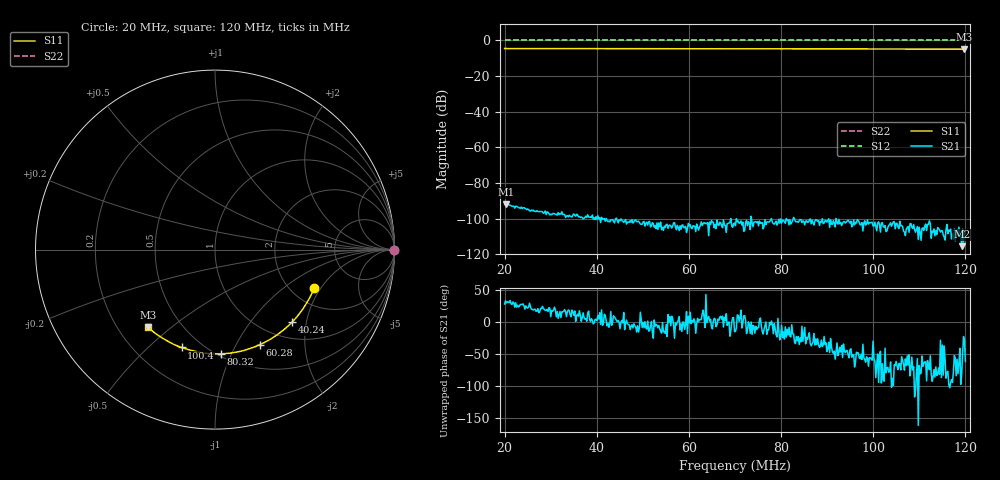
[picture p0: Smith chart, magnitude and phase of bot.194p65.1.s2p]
! Anritsu VNA Master:  Model: MS2036C/10/77
! SN:  1601066
! /bd0/18may08.cable.cal/bot..194p65.1.s2p
! Existing Calibration Information:
! TYPE:  Current Settings,  Active Cal Settings
! TIME:  05/08/2018 03:38:39 PM,  05/08/2018 03:25:16 PM
! INTERNAL TEMP:  51.5 C,  53.3 C
! # POINTS:  500,  500
! START FREQ:  20.000 MHz,  20.000 MHz
! STOP FREQ:  120.000 MHz,  120.000 MHz
! SOURCE POWER:  High,  High
! IFBW:  50 Hz,  50 Hz
! AVG FACTOR:  1 ,  1
! REF PLANE 1:  0 mm,  0 mm
! REF PLANE 2:  0 mm,  0 mm
! CAL TYPE:  Full S11,  Full S11
! CAL METHOD:  SOLT,  SOLT
! CAL LINE TYPE:  Coax,  Coax
! DUT PORT 1:  K-Conn(F),  K-Conn(F)
! DUT PORT 2:  K-Conn(F),  K-Conn(F)
! CAL STATUS:  OK: Accuracy High,  --
# GHZ S DB R 50.0
! FREQ.GHZ  S11DB  S11A  S21DB  S21A  S12DB  S12A  S22DB  S22A
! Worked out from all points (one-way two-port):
!   500 points, 20 MHz to 120 MHz, reference 50 ohm
!   highest |S21| = -91.95 dB at 20.4 MHz (marker M1); lowest = -115.4 dB at 119.2 MHz (marker M2)
!   lowest |S11| = -4.9 dB at 119.8 MHz (marker M3), VSWR 3.66, Z = 16.3 - j20.9 ohm
!   |S11| at or under -10 dB: nowhere
!   |S22| runs from 0.0 to 0.0 dB; largest |S21 - S12| = 1
!   S11 on the Smith chart (normalised r, x): 20 MHz: 2.64, -1.75; 40.24 MHz: 1.35, -1.66; 60.28 MHz: 0.78, -1.26; 80.32 MHz: 0.52, -0.91; 100.4 MHz: 0.39, -0.64; 120 MHz: 0.32, -0.42
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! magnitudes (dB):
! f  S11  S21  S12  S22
! 20 MHz  -4.5  -92.0  0.0  0.0
! 20.4 MHz  -4.5  -91.9  0.0  0.0
! 30.62 MHz  -4.6  -97.1  0.0  0.0
! 31.62 MHz  -4.6  -96.5  0.0  0.0
! 36.83 MHz  -4.6  -99.3  0.0  0.0
! 40.24 MHz  -4.6  -98.4  0.0  0.0
! 53.47 MHz  -4.6  -102.4  0.0  0.0
! 60.28 MHz  -4.7  -103.4  0.0  0.0
! 61.88 MHz  -4.7  -104.5  0.0  0.0
! 62.89 MHz  -4.6  -103.8  0.0  0.0
! 70.1 MHz  -4.7  -103.9  0.0  0.0
! 80.32 MHz  -4.7  -100.8  0.0  0.0
! 86.73 MHz  -4.7  -100.8  0.0  0.0
! 94.55 MHz  -4.8  -100.8  0.0  0.0
! 99.36 MHz  -4.8  -102.3  0.0  0.0
! 100.4 MHz  -4.8  -101.9  0.0  0.0
! 103.4 MHz  -4.8  -103.7  0.0  0.0
! 110 MHz  -4.8  -104.8  0.0  0.0
! 115.4 MHz  -4.8  -110.2  0.0  0.0
! 119.2 MHz  -4.9  -115.4  0.0  0.0
! 119.8 MHz  -4.9  -107.1  0.0  0.0
! 120 MHz  -4.9  -108.2  0.0  0.0
